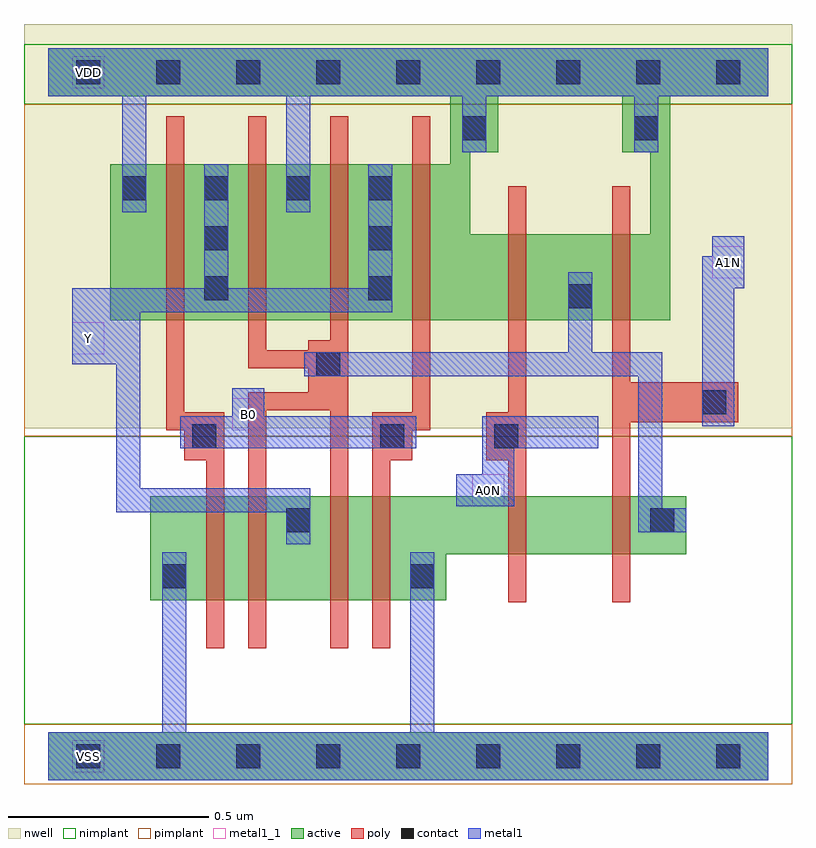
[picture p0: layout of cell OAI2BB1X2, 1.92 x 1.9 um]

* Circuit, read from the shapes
.subckt OAI2BB1X2 A0N A1N B0 VDD VSS Y
M1 n1 B0 VSS VSS nfet w=0.26u l=0.045u
M2 Y n2 n1 VSS nfet w=0.26u l=0.045u
M3 n3 n2 Y VSS nfet w=0.26u l=0.045u
M4 VSS B0 n3 VSS nfet w=0.26u l=0.045u
M5 n4 A0N VSS VSS nfet w=0.145u l=0.045u
M6 n2 A1N n4 VSS nfet w=0.145u l=0.045u
M7 Y B0 VDD VDD pfet w=0.39u l=0.045u m=2
M8 VDD n2 Y VDD pfet w=0.39u l=0.045u m=2
M9 n2 A0N VDD VDD pfet w=0.215u l=0.045u
M10 VDD A1N n2 VDD pfet w=0.215u l=0.045u
.ends

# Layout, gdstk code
import gdstk
lib = gdstk.Library(unit=1e-6, precision=5e-10)
def R(c, l, rs):  # rectangles x0, y0, x1, y1
    for r in rs: c.add(gdstk.rectangle(r[:2], r[2:], *l))
def A(c, l, x, y, w, h, nx, ny, dx, dy):  # array of equal rectangles
    R(c, l, [(x+i*dx, y+j*dy, x+i*dx+w, y+j*dy+h) for i in range(nx) for j in range(ny)])
def P(c, l, *ps):  # polygons
    for p in ps: c.add(gdstk.Polygon(p, *l))
active = (1, 0)
nwell = (2, 0)
poly = (3, 0)
nimplant = (4, 0)
pimplant = (5, 0)
contact = (6, 0)
metal1 = (7, 0)
metal1_1 = (7, 1)

oai2bb1x2 = lib.new_cell('OAI2BB1X2')
R(oai2bb1x2, active, [(0,-0.06,1.8,0.06)])
P(oai2bb1x2, active, [(0,1.77),(1.8,1.77),(1.8,1.65),(1.555,1.65),(1.555,1.09),(0.155,1.09),(0.155,1.48),(1.005,1.48),(1.005,1.65),(1.125,1.65),(1.125,1.51),(1.055,1.51),(1.055,1.305),(1.505,1.305),(1.505,1.51),(1.435,1.51),(1.435,1.65),(0,1.65)],
  [(0.255,0.65),(1.595,0.65),(1.595,0.505),(0.995,0.505),(0.995,0.39),(0.255,0.39)])
R(oai2bb1x2, nwell, [(-0.06,0.82,1.86,1.83)])
P(oai2bb1x2, poly, [(0.295,1.6),(0.34,1.6),(0.34,0.86),(0.44,0.86),(0.44,0.27),(0.395,0.27),(0.395,0.74),(0.34,0.74),(0.34,0.815),(0.295,0.815)],
  [(0.5,1.6),(0.545,1.6),(0.545,1.015),(0.65,1.015),(0.65,1.04),(0.705,1.04),(0.705,1.6),(0.75,1.6),(0.75,0.27),(0.705,0.27),(0.705,0.865),(0.545,0.865),(0.545,0.27),(0.5,0.27),(0.5,0.91),(0.65,0.91),(0.65,0.97),(0.5,0.97)],
  [(0.91,1.6),(0.955,1.6),(0.955,0.815),(0.91,0.815),(0.91,0.74),(0.855,0.74),(0.855,0.27),(0.81,0.27),(0.81,0.86),(0.91,0.86)],
  [(1.15,1.425),(1.195,1.425),(1.195,0.385),(1.15,0.385),(1.15,0.74),(1.095,0.74),(1.095,0.86),(1.15,0.86)],
  [(1.41,1.425),(1.455,1.425),(1.455,0.935),(1.725,0.935),(1.725,0.835),(1.455,0.835),(1.455,0.385),(1.41,0.385)])
R(oai2bb1x2, nimplant, [(-0.06,0.08,1.86,0.8), (-0.06,1.63,1.86,1.78)])
R(oai2bb1x2, pimplant, [(-0.06,-0.07,1.86,0.08), (-0.06,0.8,1.86,1.63)])
A(oai2bb1x2, contact, 0.07, -0.03, 0.06, 0.06, 9, 2, 0.2, 1.71)
A(oai2bb1x2, contact, 0.185, 1.39, 0.06, 0.06, 4, 1, 0.205, 0)
R(oai2bb1x2, contact, [(0.285,0.42,0.345,0.48), (0.905,0.42,0.965,0.48), (0.595,0.56,0.655,0.62), (1.505,0.56,1.565,0.62), (0.36,0.77,0.42,0.83), (0.83,0.77,0.89,0.83), (1.115,0.77,1.175,0.83), (1.635,0.855,1.695,0.915), (0.67,0.95,0.73,1.01), (1.3,1.12,1.36,1.18), (0.39,1.14,0.45,1.2), (0.8,1.14,0.86,1.2), (0.39,1.265,0.45,1.325), (0.8,1.265,0.86,1.325), (1.035,1.54,1.095,1.6), (1.465,1.54,1.525,1.6)])
P(oai2bb1x2, metal1, [(0,1.77),(1.8,1.77),(1.8,1.65),(1.525,1.65),(1.525,1.51),(1.465,1.51),(1.465,1.65),(1.095,1.65),(1.095,1.51),(1.035,1.51),(1.035,1.65),(0.655,1.65),(0.655,1.36),(0.595,1.36),(0.595,1.65),(0.245,1.65),(0.245,1.36),(0.185,1.36),(0.185,1.65),(0,1.65)],
  [(0.39,1.48),(0.45,1.48),(0.45,1.17),(0.8,1.17),(0.8,1.48),(0.86,1.48),(0.86,1.11),(0.23,1.11),(0.23,0.67),(0.655,0.67),(0.655,0.53),(0.595,0.53),(0.595,0.61),(0.17,0.61),(0.17,0.98),(0.06,0.98),(0.06,1.17),(0.39,1.17)],
  [(1.3,1.21),(1.36,1.21),(1.36,1.01),(1.535,1.01),(1.535,0.62),(1.595,0.62),(1.595,0.56),(1.475,0.56),(1.475,0.95),(0.64,0.95),(0.64,1.01),(1.3,1.01)],
  [(0.46,0.92),(0.54,0.92),(0.54,0.85),(0.92,0.85),(0.92,0.77),(0.33,0.77),(0.33,0.85),(0.46,0.85)],
  [(1.66,1.3),(1.74,1.3),(1.74,1.17),(1.715,1.17),(1.715,0.825),(1.635,0.825),(1.635,1.25),(1.66,1.25)],
  [(1.085,0.85),(1.375,0.85),(1.375,0.77),(1.165,0.77),(1.165,0.625),(1.02,0.625),(1.02,0.705),(1.085,0.705)],
  [(0.285,0.51),(0.345,0.51),(0.345,0.06),(0.905,0.06),(0.905,0.51),(0.965,0.51),(0.965,0.06),(1.8,0.06),(1.8,-0.06),(0,-0.06),(0,0.06),(0.285,0.06)])
R(oai2bb1x2, metal1_1, [(0.06,-0.04,0.14,0.04), (1.06,0.625,1.14,0.705), (0.46,0.815,0.54,0.895), (0.06,1.005,0.14,1.085), (1.66,1.195,1.74,1.275), (0.06,1.67,0.14,1.75)])
oai2bb1x2.add(gdstk.Label('Y', (0.1,1.045), layer=7, texttype=1))
oai2bb1x2.add(gdstk.Label('B0', (0.5,0.855), layer=7, texttype=1))
oai2bb1x2.add(gdstk.Label('A0N', (1.1,0.665), layer=7, texttype=1))
oai2bb1x2.add(gdstk.Label('A1N', (1.7,1.235), layer=7, texttype=1))
oai2bb1x2.add(gdstk.Label('VDD', (0.1,1.71), layer=7, texttype=1))
oai2bb1x2.add(gdstk.Label('VSS', (0.1,0), layer=7, texttype=1))
oai2bb1x2.add(gdstk.Label('OAI2BB1X2', (0,0), layer=63, texttype=0))

lib.write_gds('OAI2BB1X2.gds')
